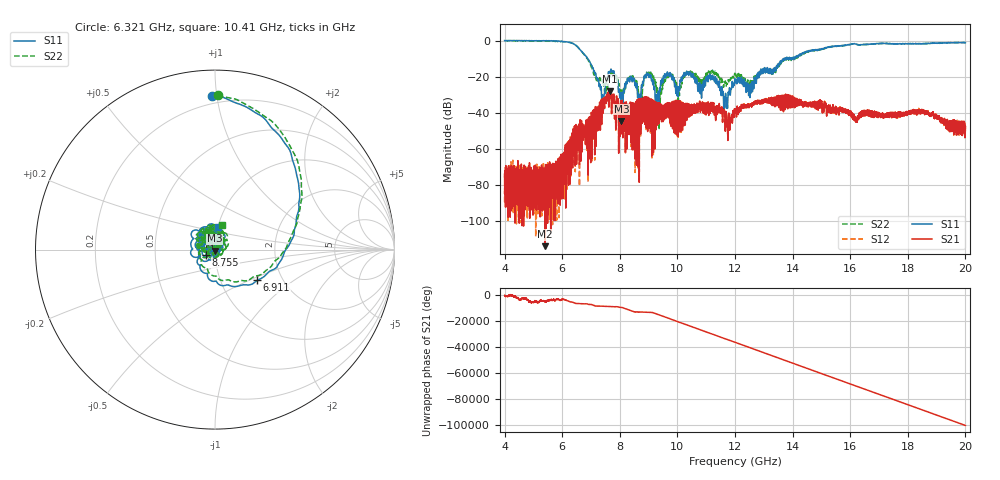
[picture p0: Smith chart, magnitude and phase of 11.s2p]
[Version] 2.0
! Rohde & Schwarz Vector Network Analyzer
! Rohde-Schwarz,ZNL20-2Port,1323001220200009,1.71.1.10-23.02.1.238
! Port Assignments:
! Nominal Port -> Actual Test Port
!  1 -> 1
!  2 -> 2
! Created: GMT+2 2025-01-16 20:24:09
# Hz S RI R 50
[Number of Ports] 2
[Two-Port Data Order] 21_12
! freq[Hz]  S11[Re]  S11[Im]  S21[Re]  S21[Im]  S12[Re]  S12[Im]  S22[Re]  S22[Im]
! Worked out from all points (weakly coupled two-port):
!   16001 points, 4 GHz to 20 GHz, reference 50 ohm
!   highest |S21| = -28.28 dB at 7.644 GHz (marker M1); lowest = -114.1 dB at 5.408 GHz (marker M2)
!   lowest |S11| = -44.7 dB at 8.053 GHz (marker M3), VSWR 1.01, Z = 49.9 - j0.572 ohm
!   |S11| at or under -10 dB: 6.885 GHz to 13.7 GHz (6.816 GHz wide, 66.2 % of centre); 13.71507 GHz to 13.7435 GHz (28.43 MHz wide, 0.207 % of centre); 13.94318 GHz to 13.96733 GHz (24.14 MHz wide, 0.173 % of centre) (the widest 3 of 9)
!   |S22| runs from -50.5 to 0.0 dB; largest |S21 - S12| = 0.0029
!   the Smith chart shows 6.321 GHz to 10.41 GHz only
!   S11 on the Smith chart (normalised r, x): 6.321 GHz: 0.15, +0.97; 6.911 GHz: 1.49, -0.56; 8.755 GHz: 0.90, -0.06; 10.41 GHz: 1.00, +0.26
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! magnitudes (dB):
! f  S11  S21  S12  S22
! 4 GHz  0.0  -74.4  -89.7  -0.2
! 5.408 GHz  -0.2  -114.1  -76.5  -0.2
! 6.321 GHz  -1.4  -60.1  -59.3  -1.3
! 6.667 GHz  -6.0  -44.6  -44.5  -6.0
! 6.911 GHz  -10.7  -44.9  -44.8  -11.3
! 7.405 GHz  -30.3  -34.3  -34.3  -22.3
! 7.644 GHz  -17.3  -28.3  -28.2  -19.9
! 8.053 GHz  -44.7  -47.9  -48.3  -32.2
! 8.427 GHz  -22.7  -39.9  -39.9  -21.8
! 8.755 GHz  -24.6  -33.0  -33.0  -28.5
! 9.004 GHz  -20.3  -34.0  -33.9  -18.9
! 9.334 GHz  -28.2  -34.4  -34.4  -31.6
! 9.585 GHz  -20.6  -38.7  -38.5  -22.1
! 10.05 GHz  -25.6  -33.3  -33.4  -27.6
! 10.41 GHz  -17.9  -37.8  -37.9  -16.9
! 11.25 GHz  -21.7  -35.7  -35.6  -17.6
! 11.68 GHz  -29.4  -42.9  -42.5  -23.3
! 12 GHz  -21.2  -39.7  -39.7  -18.4
! 12.54 GHz  -24.6  -36.0  -36.0  -22.2
! 14.67 GHz  -5.5  -34.6  -34.5  -5.8
! 17.33 GHz  -1.8  -41.2  -41.2  -1.8
! 20 GHz  -1.2  -47.5  -47.6  -1.1
